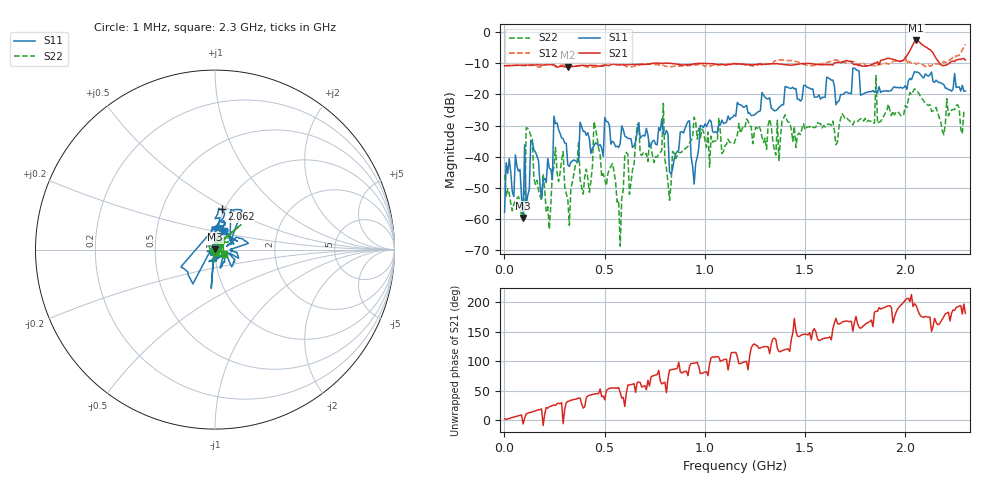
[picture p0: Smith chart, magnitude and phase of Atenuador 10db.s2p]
# Hz S DB R 50.000000
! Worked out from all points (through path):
!   300 points, 1 MHz to 2.3 GHz, reference 50 ohm
!   highest |S21| = -2.70 dB at 2.054 GHz (marker M1); lowest = -11.3 dB at 316.2 MHz (marker M2)
!   lowest |S11| = -59.6 dB at 93.27 MHz (marker M3), VSWR 1.00, Z = 50.1 + j0.0735 ohm
!   |S11| at or under -10 dB: start of sweep to end of sweep
!   |S22| runs from -68.7 to -14.0 dB; largest |S21 - S12| = 0.61
!   S11 on the Smith chart (normalised r, x): 1 MHz: 1.00, +0.00; 2.062 GHz: 0.97, +0.46; 2.3 GHz: 1.08, +0.22
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1000000  -57.81 30.0  -10.83 2.2  -10.91 5.5  -45.83 -94.1
5.482274e7  -39.46 122.7  -10.68 5.9  -10.67 5.8  -54.37 -82.8
9.326756e7  -59.63 44.7  -10.65 -6.7  -10.77 8.7  -54.63 -56.7
1.009565e8  -36.18 33.6  -10.63 3.0  -10.74 9.6  -60.37 -64.1
1.086455e8  -55.63 160.3  -10.58 10.5  -10.80 10.1  -30.69 28.5
1.317124e8  -34.73 146.5  -10.58 13.0  -10.72 12.4  -33.27 95.6
2.239799e8  -43.73 -177.5  -10.44 22.8  -10.47 21.9  -63.26 121.6
2.470468e8  -26.97 -166.2  -10.25 25.8  -10.60 24.7  -43.40 -143.6
3.162475e8  -42.59 164.8  -11.29 31.6  -10.71 29.9  -53.58 -176.7
3.854482e8  -30.39 -118.4  -10.67 27.6  -10.83 37.5  -49.64 116.8
4.469599e8  -36.46 -140.5  -10.67 44.1  -11.26 37.9  -28.75 43.1
5.776722e8  -35.83 -120.3  -10.47 47.1  -10.66 48.5  -68.71 -41.2
6.007391e8  -33.38 -68.1  -10.48 23.1  -10.66 49.4  -39.34 73.5
6.622508e8  -32.05 -133.1  -10.39 63.6  -10.83 65.5  -29.73 -65.2
7.698963e8  -30.63 -110.6  -10.03 84.4  -10.56 53.4  -39.15 -16.1
9.467425e8  -48.76 -124.2  -10.19 96.6  -10.63 98.0  -27.34 -66.2
1.154344e9  -27.01 -49.3  -10.17 114.9  -10.26 115.6  -34.12 -7.1
1.538793e9  -18.24 -7.1  -10.23 151.1  -10.78 141.0  -30.53 30.4
1.923241e9  -18.90 54.1  -8.51 -166.0  -9.96 -178.4  -25.17 65.7
2.053953e9  -12.86 83.4  -2.70 -165.7  -10.29 -163.5  -18.57 68.1
2.061642e9  -12.87 80.8  -2.73 -172.7  -10.06 -164.5  -19.13 53.3
2.3e9  -18.95 63.7  -8.98 -179.0  -3.99 -133.4  -25.22 -26.8
